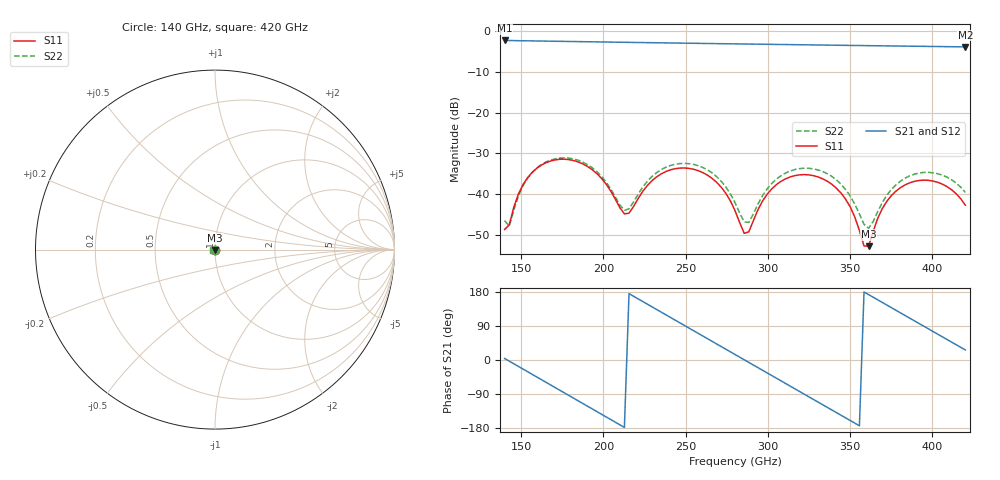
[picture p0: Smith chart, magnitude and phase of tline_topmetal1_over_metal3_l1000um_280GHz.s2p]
#  GHZ S DB R 50
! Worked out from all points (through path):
!   101 points, 140 GHz to 420 GHz, reference 50 ohm
!   highest |S21| = -2.22 dB at 140 GHz (marker M1); lowest = -3.8 dB at 420 GHz (marker M2)
!   group delay of S21, straight-line fit = 6.92 ps
!   lowest |S11| = -52.8 dB at 361.2 GHz (marker M3), VSWR 1.00, Z = 50 - j0.228 ohm
!   |S11| at or under -10 dB: start of sweep to end of sweep
!   |S22| runs from -48.4 to -31.1 dB; largest |S21 - S12| = 8.1e-14
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140  -48.70 -103.1  -2.22 4.1  -2.22 4.1  -46.51 -117.6
142.8  -47.57 -53.4  -2.24 -3.0  -2.24 -3.0  -47.87 -71.6
148.4  -39.96 -32.0  -2.28 -17.0  -2.28 -17.0  -40.45 -36.5
159.6  -33.63 -48.3  -2.35 -45.0  -2.35 -45.0  -33.56 -49.8
173.6  -31.43 -78.6  -2.43 -80.0  -2.43 -80.0  -31.13 -79.3
187.6  -32.58 -108.7  -2.52 -115.0  -2.52 -115.0  -32.15 -108.9
198.8  -36.09 -128.0  -2.59 -142.9  -2.59 -142.9  -35.60 -127.6
212.8  -44.86 -103.7  -2.68 -177.9  -2.68 -177.9  -43.99 -100.7
235.2  -35.02 -73.6  -2.80 126.2  -2.80 126.2  -33.97 -73.2
257.6  -34.22 -119.6  -2.93 70.4  -2.93 70.4  -33.01 -118.2
271.6  -38.29 -146.3  -3.01 35.5  -3.01 35.5  -36.82 -143.6
280  -44.05 -150.9  -3.06 14.6  -3.06 14.6  -42.08 -147.1
285.6  -49.63 -120.5  -3.09 0.6  -3.09 0.6  -46.84 -121.3
288.4  -49.27 -88.4  -3.11 -6.3  -3.11 -6.3  -46.95 -94.5
305.2  -37.66 -75.0  -3.20 -48.2  -3.20 -48.2  -36.30 -75.3
327.6  -35.45 -122.3  -3.32 -103.9  -3.32 -103.9  -33.79 -119.5
344.4  -39.73 -156.9  -3.41 -145.7  -3.41 -145.7  -37.55 -151.1
358.4  -52.73 -136.9  -3.48 179.5  -3.48 179.5  -47.41 -137.1
361.2  -52.79 -94.5  -3.50 172.5  -3.50 172.5  -48.39 -111.0
375.2  -40.29 -74.5  -3.57 137.7  -3.57 137.7  -38.78 -77.7
397.6  -36.61 -122.5  -3.69 82.0  -3.69 82.0  -34.65 -119.6
420  -42.73 -174.8  -3.80 26.4  -3.80 26.4  -39.58 -164.3
